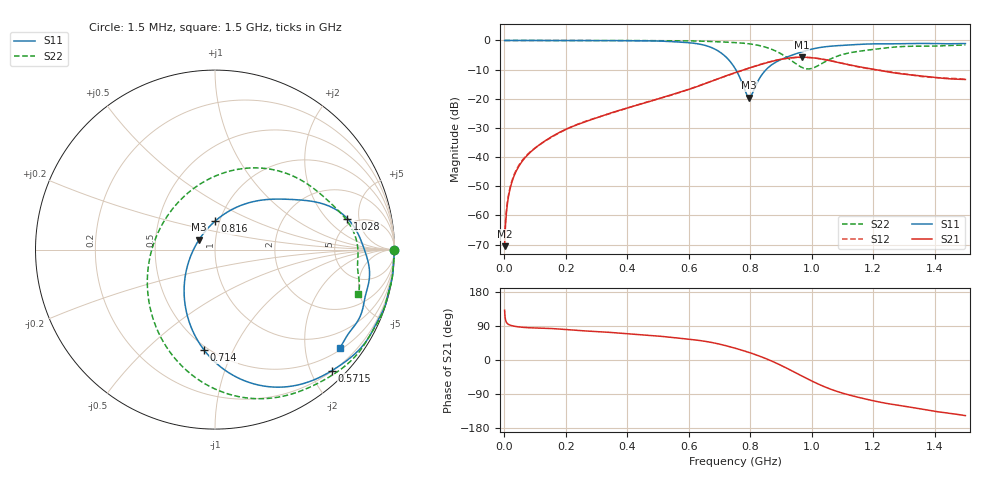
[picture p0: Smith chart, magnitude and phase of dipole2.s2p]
! TOUCHSTONE file generated by CST MICROWAVE STUDIO
! Date and time: Mon Apr  6 12:04:22 2026
! Project name: dipole2.cst
! Parameters = {L=80; N=5; gap=5; r=1}
! Header version: 2018
! Port assignment regex: !\s*Touchstone port\s*([0-9]+)\s*=\s*(CST MWS port|CST DS port)\s*([0-9]+|Zmin|Zmax)\s*\(\"(.*)\"\)(\s*mode\s*([0-9]+))?.*
! Touchstone port assignment:
! Touchstone port 1 = CST MWS port 1 ("")
! Touchstone port 2 = CST MWS port 2 ("")
# GHz S MA R 50
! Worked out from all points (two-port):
!   1000 points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, 1.5 MHz to 1.5 GHz, reference 50 ohm
!   highest |S21| = -5.74 dB at 967.5 MHz (marker M1); lowest = -70.6 dB at 1.5 MHz (marker M2)
!   |S21| within 3 dB of the highest: 818.7 MHz to 1.141 GHz (322.1 MHz wide, 32.9 % of centre)
!   lowest |S11| = -19.6 dB at 796.5 MHz (marker M3), VSWR 1.23, Z = 41.6 + j4.68 ohm
!   |S11| at or under -10 dB: 753.3 MHz to 851.9 MHz (98.61 MHz wide, 12.3 % of centre)
!   |S22| runs from -9.8 to 0.0 dB; largest |S21 - S12| = 0.0063
!   S11 on the Smith chart (normalised r, x): 1.5 MHz: open; 571.5 MHz: 0.21, -2.34; 714 MHz: 0.47, -0.78; 816 MHz: 0.95, +0.31; 1.028 GHz: 4.31, +3.51; 1.5 GHz: 0.55, -2.78
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0.0015  1 -0.1  0.0002966 131.2  0.0005366 154.0  1 -0.1
0.012  0.9998 -0.6  0.001788 95.1  0.001924 102.9  0.9999 -0.6
0.0195  0.9996 -1.0  0.002888 91.9  0.003056 96.5  0.9998 -0.9
0.0555  0.9975 -2.9  0.008028 86.6  0.008337 86.8  0.9984 -2.6
0.135  0.9992 -6.9  0.01927 83.7  0.01901 82.8  0.9978 -6.1
0.252  0.9956 -13.5  0.03835 77.2  0.03895 77.5  0.9977 -12.1
0.501  0.9771 -35.1  0.09974 63.2  0.09957 62.4  0.9884 -27.5
0.5715  0.9374 -46.0  0.1295 57.3  0.1286 57.9  0.9859 -33.5
0.657  0.8134 -69.5  0.1845 48.9  0.1861 48.5  0.9671 -43.7
0.714  0.5642 -96.1  0.2394 39.2  0.2377 38.9  0.9403 -52.3
0.7515  0.3281 -121.2  0.2807 31.0  0.2786 31.3  0.9189 -59.5
0.7965  0.1045 147.8  0.3357 19.9  0.3364 20.3  0.8764 -71.3
0.816  0.1581 90.1  0.3617 14.5  0.3638 14.8  0.8461 -77.7
0.8535  0.3225 54.1  0.4144 2.9  0.4171 2.7  0.758 -93.0
0.9075  0.4893 35.0  0.4833 -17.0  0.4821 -17.3  0.5624 -123.7
0.9675  0.6361 24.2  0.5162 -41.9  0.5129 -41.7  0.3467 176.7
1.0005  0.7102 18.3  0.5058 -55.4  0.5052 -54.9  0.3319 130.1
1.0275  0.7578 13.2  0.4843 -65.6  0.4867 -65.2  0.3867 97.9
1.0695  0.8033 6.0  0.4382 -79.3  0.4425 -79.5  0.5035 64.7
1.1235  0.8376 -1.0  0.3807 -92.6  0.3791 -93.3  0.6137 39.6
1.251  0.8757 -15.4  0.287 -115.6  0.2924 -115.2  0.7544 12.1
1.5  0.8843 -38.3  0.2144 -146.8  0.2154 -148.4  0.8369 -17.4
